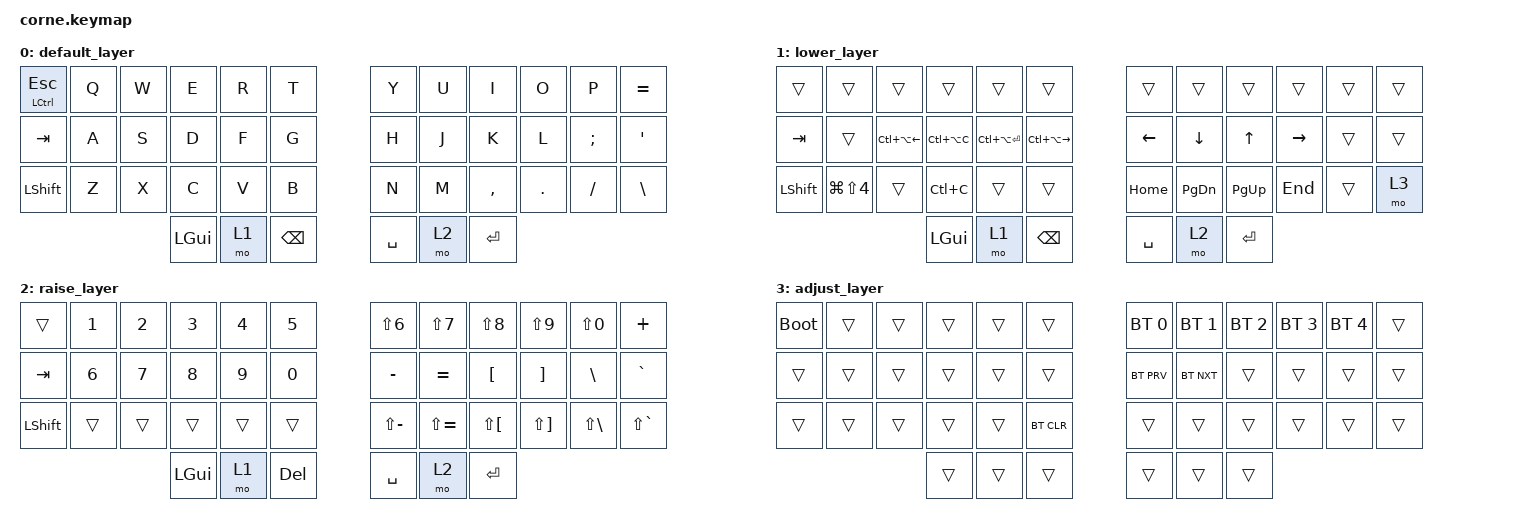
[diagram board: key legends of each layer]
/*
 * Copyright (c) 2020 The ZMK Contributors
 *
 * SPDX-License-Identifier: MIT
 */

#include <behaviors.dtsi>
#include <dt-bindings/zmk/keys.h>
#include <dt-bindings/zmk/bt.h>

/ {
        keymap {
                compatible = "zmk,keymap";

                default_layer {
// -----------------------------------------------------------------------------------------
// |CTL/E|  Q  |  W  |  E  |  R  |  T  |   |  Y  |  U  |  I  |  O  |  P  |  =   |
// | TAB  |  A  |  S  |  D  |  F  |  G  |   |  H  |  J  |  K  |  L  |  ;  |  '   |
// | SHFT |  Z  |  X  |  C  |  V  |  B  |   |  N  |  M  |  ,  |  .  |  /  | BSLH |
//                    | GUI | LWR | BSP |   | SPC | RSE | RET |
                        bindings = <
   &mt LCTRL ESC &kp Q &kp W &kp E &kp R &kp T   &kp Y &kp U  &kp I     &kp O   &kp P    &kp EQUAL
   &kp TAB   &kp A &kp S &kp D &kp F &kp G   &kp H &kp J  &kp K     &kp L   &kp SEMI &kp SQT
   &kp LSHFT &kp Z &kp X &kp C &kp V &kp B   &kp N &kp M  &kp COMMA &kp DOT &kp FSLH &kp BSLH
                   &kp LGUI &mo 1 &kp BSPC   &kp SPACE &mo 2 &kp RET
                        >;
                };

                lower_layer {
// -----------------------------------------------------------------------------------------
// |CTL/E|     |     |     |     |     |   |     |     |     |     |     |       |
// | TAB  |     |C+A+←|C+A+C|C+A+⏎|C+A+→|   |  ←  |  ↓  |  ↑  |  →  |     |       |
// | SHFT | 📷  |     |LC(C)|     |     |   |HOME |PG_DN|PG_UP| END |     | ADJ  |
//                    | GUI | LWR | BSP |   | SPC | RSE | RET |
                        bindings = <
   &trans      &trans   &trans            &trans            &trans            &trans             &trans   &trans   &trans   &trans    &trans   &trans
   &kp TAB   &trans &kp LC(LA(LEFT))  &kp LC(LA(C))     &kp LC(LA(RET))   &kp LC(LA(RIGHT))  &kp LEFT &kp DOWN &kp UP   &kp RIGHT &trans   &trans
   &kp LSHFT &kp LG(LS(N4)) &trans    &kp LC(C)         &trans            &trans             &kp HOME &kp PG_DN &kp PG_UP &kp END   &trans   &mo 3
                    &kp LGUI &mo 1 &kp BSPC   &kp SPACE &mo 2 &kp RET
                        >;
                };

                raise_layer {
// -----------------------------------------------------------------------------------------
// |CTL/E|  1  |  2  |  3  |  4  |  5  |   |  ^  |  &  |  *  |  (  |  )  |  +   |
// | TAB  |  6  |  7  |  8  |  9  |  0  |   |  -  |  =  |  [  |  ]  |  \  |  `   |
// | SHFT |     |     |     |     |     |   |  _  |  +  |  {  |  }  |  |  |  ~   |
//                    | GUI | LWR | DEL |   | SPC | RSE | RET |
                        bindings = <
   &trans      &kp N1 &kp N2 &kp N3 &kp N4 &kp N5   &kp LS(N6) &kp LS(N7) &kp LS(N8) &kp LS(N9) &kp LS(N0) &kp PLUS
   &kp TAB   &kp N6   &kp N7   &kp N8   &kp N9   &kp N0     &kp MINUS  &kp EQUAL  &kp LBKT   &kp RBKT   &kp BSLH   &kp GRAVE
   &kp LSHFT &trans     &trans     &trans     &trans     &trans       &kp LS(MINUS) &kp LS(EQUAL) &kp LS(LBKT) &kp LS(RBKT) &kp LS(BSLH) &kp LS(GRAVE)
                    &kp LGUI &mo 1 &kp DEL    &kp SPACE &mo 2 &kp RET
                        >;
                };

                adjust_layer {
// -----------------------------------------------------------------------------------------
// |BOOT |     |     |     |     |     |   | BT0 | BT1 | BT2 | BT3 | BT4 |       |
// |     |     |     |     |     |     |   |BTPRV|BTNXT|     |     |     |       |
// |     |     |     |     |     |BTCLR|   |     |     |     |     |     |       |
//                    |     |     |     |   |     |     |     |
                        bindings = <
   &bootloader &trans   &trans   &trans   &trans   &trans     &bt BT_SEL 0 &bt BT_SEL 1 &bt BT_SEL 2 &bt BT_SEL 3 &bt BT_SEL 4 &trans
   &trans      &trans   &trans   &trans   &trans   &trans     &bt BT_PRV   &bt BT_NXT   &trans        &trans        &trans        &trans
   &trans      &trans   &trans   &trans   &trans   &bt BT_CLR &trans        &trans        &trans        &trans        &trans        &trans
                        &trans &trans &trans     &trans &trans &trans
                        >;
                };
        };
};
